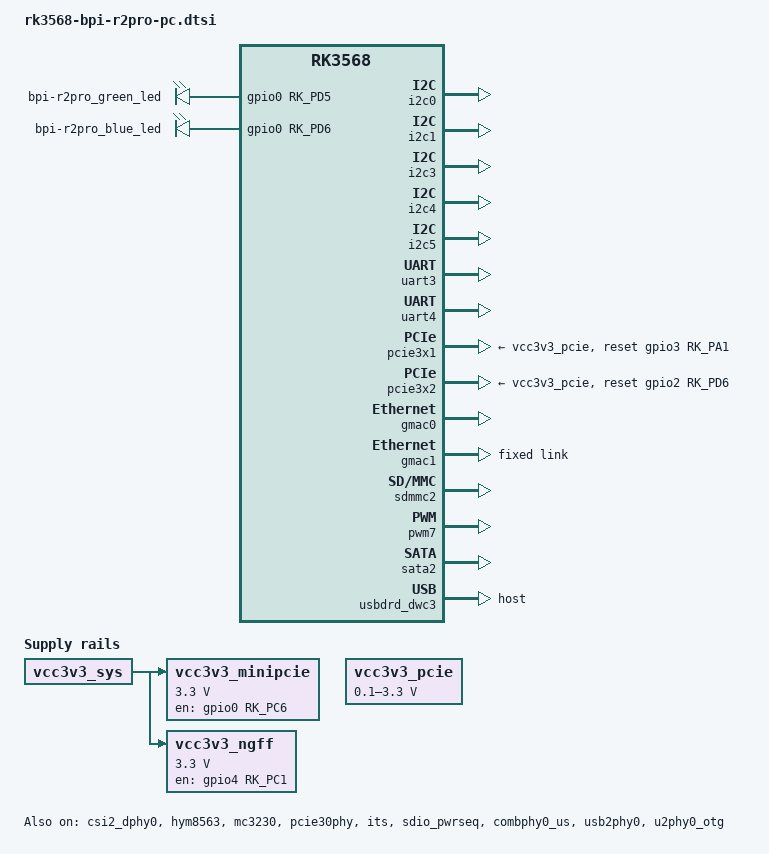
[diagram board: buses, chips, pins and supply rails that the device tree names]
// SPDX-License-Identifier: (GPL-2.0+ OR MIT)
/*
 * Copyright (c) 2020 Rockchip Electronics Co., Ltd.
 *
 */

#include "rk3568-bpi-r2pro-port.dtsi"

/ {

	vcc3v3_pcie: gpio-regulator {
		compatible = "regulator-gpio";
		regulator-name = "vcc3v3_pcie";
		regulator-min-microvolt = <100000>;
		regulator-max-microvolt = <3300000>;
		gpios = <&gpio0 RK_PD4 GPIO_ACTIVE_HIGH>;
		gpios-states = <0x1>;
		states = <100000 0x0
			  3300000 0x1>;
	};
	
	/* vcc3v3_pcie: vcc3v3_pcie-regulator {
		compatible = "regulator-fixed";
		regulator-name = "vcc3v3_pcie";
		regulator-min-microvolt = <3300000>;
		regulator-max-microvolt = <3300000>;
		enable-active-high;
		gpios = <&gpio0 RK_PD4 GPIO_ACTIVE_HIGH>;
		startup-delay-us = <20000>;
		vin-supply = <&vcc5v0_sys>;
	}; */
	
	vcc3v3_minipcie: vcc3v3_minipcie-regulator {
		compatible = "regulator-fixed";
		regulator-name = "vcc3v3_minipcie";
		regulator-min-microvolt = <3300000>;
		regulator-max-microvolt = <3300000>;
		regulator-always-on;
		regulator-boot-on;
		enable-active-high;
		gpio = <&gpio0 RK_PC6 GPIO_ACTIVE_HIGH>;
		//startup-delay-us = <5000>;
		vin-supply = <&vcc3v3_sys>;
	};

	vcc3v3_ngff: vcc3v3_ngff-regulator {
		compatible = "regulator-fixed";
		regulator-name = "vcc3v3_ngff";
		regulator-min-microvolt = <3300000>;
		regulator-max-microvolt = <3300000>;
		regulator-always-on;
		regulator-boot-on;
		enable-active-high;
		gpio = <&gpio4 RK_PC1 GPIO_ACTIVE_HIGH>;
		//startup-delay-us = <5000>;
		vin-supply = <&vcc3v3_sys>;
	};

	bpi_r2pro_leds: leds {
		status = "okay";
		compatible = "gpio-leds";

		green_led: green_led_user {
			label = "bpi-r2pro_green_led";
			linux,default-trigger = "green-led-click";
			default-state = "off";
			gpios = <&gpio0 RK_PD5 GPIO_ACTIVE_HIGH>;
			pinctrl-names = "default";
			pinctrl-0 = <&green_led_pin>;
		};

		blue_led: blue_led_user {
			label = "bpi-r2pro_blue_led";
			linux,default-trigger = "blue-led-click";
			default-state = "off";
			gpios = <&gpio0 RK_PD6 GPIO_ACTIVE_HIGH>;
			pinctrl-names = "default";
			pinctrl-0 = <&blue_led_pin>;
		};

    };
};

&csi2_dphy0 {
	status = "okay";

	ports {
		#address-cells = <1>;
		#size-cells = <0>;
		port@0 {
			reg = <0>;
			#address-cells = <1>;
			#size-cells = <0>;

			mipi_in_ucam3: endpoint@4 {
				reg = <4>;
				data-lanes = <1 2>;
			};
			mipi_in_ucam4: endpoint@5 {
				reg = <5>;
				data-lanes = <1 2>;
			};
		};
		port@1 {
			reg = <1>;
			#address-cells = <1>;
			#size-cells = <0>;

			csidphy_out: endpoint@0 {
				reg = <0>;
				remote-endpoint = <&isp0_in>;
			};
		};
	};
};

&i2c0 {
	status = "okay";
};

&i2c1 {
	status = "okay";
};

&i2c3 {
	status = "okay";
};

&i2c4 {
	status = "okay";
};

&pca9555 {
	status = "disabled";
};

&i2c5 {
	status = "okay";
};

&hym8563 {
	status = "okay";
};

&mc3230 {
	status = "okay";
};

&uart3 {
	status = "okay";
};

&uart4 {
        status = "okay";
};

&spi1 {
	status = "disabled";
};

&spi_wk2xxx {
	status = "disabled";
};

&pcie30phy {
       status = "okay";
};

&pcie3x1 {
	rockchip,bifurcation;
	reset-gpios = <&gpio3 RK_PA1 GPIO_ACTIVE_HIGH>;
	vpcie3v3-supply = <&vcc3v3_pcie>;
	//ngff3v3-supply = <&vcc3v3_ngff>;
	status = "okay";
};

&pcie3x2 {
	rockchip,bifurcation;
	reset-gpios = <&gpio2 RK_PD6 GPIO_ACTIVE_HIGH>;
	vpcie3v3-supply = <&vcc3v3_pcie>;
	//minipcie3v3-supply = <&vcc3v3_minipcie>;
      	status = "okay";
};

&its {
	status = "okay";
};

&can1 {
	status = "disabled";
};

&can2 {
	status = "disabled";
};

&gmac0 {
	status = "okay";
};

&gmac1 {
	status = "okay";

	fixed-link {
		speed = <1000>;
		full-duplex;
		pause;
	};
};

&rgmii_phy0 {
	led_status_value = <0x6940>;
};

/*
&rgmii_phy1 {
	led_status_value = <0x6940>;
};
*/

&uart8 {
	status = "disabled";
};

&sdio_pwrseq {
	status = "okay";
	reset-gpios = <&gpio3 RK_PD5 GPIO_ACTIVE_LOW>;
	post-power-on-delay-ms = <100>;
};

&sdmmc2 {
	status = "okay";
	max-frequency = <100000000>;
};

&wireless_wlan {
	wifi_chip_type = "ap6275s";
	status = "disabled";
};

&wireless_bluetooth {
	status = "disabled";
};

&spdif_8ch{
    status = "disabled";
};

&rk809 {
    rtc {
        status = "disabled";
    };
};

&pwm7 {
	status = "okay";
};

&sata2 {
	status = "okay";
};

&vcc3v3_vga {
	status = "disabled";
};

&vcc5v0_otg {
	status = "disabled";
};

&combphy0_us {
	status = "okay";
};

&usbdrd_dwc3 {
	dr_mode = "host";
	status = "okay";
};

&usb2phy0 {
	status = "okay";
};

&u2phy0_otg {
	/delete-property/ vbus-supply;
	status = "okay";
};


&pinctrl {

	leds {
		green_led_pin: green_led_pin {
			rockchip,pins = <0 RK_PD5 RK_FUNC_GPIO &pcfg_pull_none>;
		};

		blue_led_pin: blue_led_pin {
			rockchip,pins = <0 RK_PD6 RK_FUNC_GPIO &pcfg_pull_none>;
		};
	};
};
